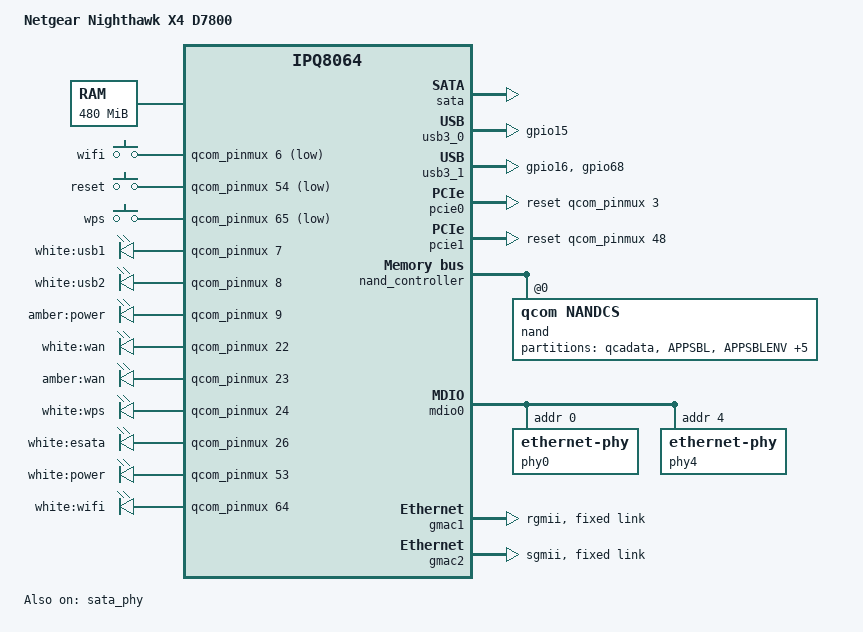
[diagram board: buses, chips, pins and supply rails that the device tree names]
#include "qcom-ipq8064-v2.0.dtsi"

#include <dt-bindings/input/input.h>

/ {
	model = "Netgear Nighthawk X4 D7800";
	compatible = "netgear,d7800", "qcom,ipq8064";

	memory@0 {
		reg = <0x42000000 0x1e000000>;
		device_type = "memory";
	};

	aliases {
		mdio-gpio0 = &mdio0;

		led-boot = &power_white;
		led-failsafe = &power_amber;
		led-running = &power_white;
		led-upgrade = &power_amber;
	};

	chosen {
		bootargs = "rootfstype=squashfs noinitrd";
	};

	keys {
		compatible = "gpio-keys";
		pinctrl-0 = <&button_pins>;
		pinctrl-names = "default";

		wifi {
			label = "wifi";
			gpios = <&qcom_pinmux 6 GPIO_ACTIVE_LOW>;
			linux,code = <KEY_RFKILL>;
			debounce-interval = <60>;
			wakeup-source;
		};

		reset {
			label = "reset";
			gpios = <&qcom_pinmux 54 GPIO_ACTIVE_LOW>;
			linux,code = <KEY_RESTART>;
			debounce-interval = <60>;
			wakeup-source;
		};

		wps {
			label = "wps";
			gpios = <&qcom_pinmux 65 GPIO_ACTIVE_LOW>;
			linux,code = <KEY_WPS_BUTTON>;
			debounce-interval = <60>;
			wakeup-source;
		};
	};

	leds {
		compatible = "gpio-leds";
		pinctrl-0 = <&led_pins>;
		pinctrl-names = "default";

		usb1 {
			label = "white:usb1";
			gpios = <&qcom_pinmux 7 GPIO_ACTIVE_HIGH>;
		};

		usb2 {
			label = "white:usb2";
			gpios = <&qcom_pinmux 8 GPIO_ACTIVE_HIGH>;
		};

		power_amber: power_amber {
			label = "amber:power";
			gpios = <&qcom_pinmux 9 GPIO_ACTIVE_HIGH>;
		};

		wan_white {
			label = "white:wan";
			gpios = <&qcom_pinmux 22 GPIO_ACTIVE_HIGH>;
		};

		wan_amber {
			label = "amber:wan";
			gpios = <&qcom_pinmux 23 GPIO_ACTIVE_HIGH>;
		};

		wps {
			label = "white:wps";
			gpios = <&qcom_pinmux 24 GPIO_ACTIVE_HIGH>;
		};

		esata {
			label = "white:esata";
			gpios = <&qcom_pinmux 26 GPIO_ACTIVE_HIGH>;
		};

		power_white: power_white {
			label = "white:power";
			gpios = <&qcom_pinmux 53 GPIO_ACTIVE_HIGH>;
			default-state = "keep";
		};

		wifi {
			label = "white:wifi";
			gpios = <&qcom_pinmux 64 GPIO_ACTIVE_HIGH>;
		};
	};
};

&qcom_pinmux {
	button_pins: button_pins {
		mux {
			pins = "gpio6", "gpio54", "gpio65";
			function = "gpio";
			drive-strength = <2>;
			bias-pull-up;
		};
	};

	led_pins: led_pins {
		mux {
			pins = "gpio7", "gpio8", "gpio9", "gpio22", "gpio23",
				"gpio24","gpio26", "gpio53", "gpio64";
			function = "gpio";
			drive-strength = <2>;
			bias-pull-up;
		};
	};

	usb0_pwr_en_pins: usb0_pwr_en_pins {
		mux {
			pins = "gpio15";
			function = "gpio";
			drive-strength = <12>;
			bias-pull-down;
			output-high;
		};
	};

	usb1_pwr_en_pins: usb1_pwr_en_pins {
		mux {
			pins = "gpio16", "gpio68";
			function = "gpio";
			drive-strength = <12>;
			bias-pull-down;
			output-high;
		};
	};
};

&sata_phy {
	status = "okay";
};

&sata {
	status = "okay";
};

&usb3_0 {
	status = "okay";

	pinctrl-0 = <&usb0_pwr_en_pins>;
	pinctrl-names = "default";
};

&usb3_1 {
	status = "okay";

	pinctrl-0 = <&usb1_pwr_en_pins>;
	pinctrl-names = "default";
};

&pcie0 {
	status = "okay";
	reset-gpio = <&qcom_pinmux 3 GPIO_ACTIVE_HIGH>;
	pinctrl-0 = <&pcie0_pins>;
	pinctrl-names = "default";
};

&pcie1 {
	status = "okay";
	reset-gpio = <&qcom_pinmux 48 GPIO_ACTIVE_HIGH>;
	pinctrl-0 = <&pcie1_pins>;
	pinctrl-names = "default";
	max-link-speed = <1>;
};

&nand_controller {
	status = "okay";

	pinctrl-0 = <&nand_pins>;
	pinctrl-names = "default";

	#address-cells = <1>;
	#size-cells = <0>;

	nand@0 {
		reg = <0>;
		compatible = "qcom,nandcs";

		nand-ecc-strength = <4>;
		nand-bus-width = <8>;
		nand-ecc-step-size = <512>;

		nand-is-boot-medium;
		qcom,boot_pages_size = <0x1180000>;

		partitions {
			compatible = "fixed-partitions";
			#address-cells = <1>;
			#size-cells = <1>;

			qcadata@0 {
				label = "qcadata";
				reg = <0x0000000 0x0c80000>;
				read-only;
			};

			APPSBL@c80000 {
				label = "APPSBL";
				reg = <0x0c80000 0x0500000>;
				read-only;
			};

			APPSBLENV@1180000 {
				label = "APPSBLENV";
				reg = <0x1180000 0x0080000>;
				read-only;
			};

			art: art@1200000 {
				label = "art";
				reg = <0x1200000 0x0140000>;
				read-only;
			};

			artbak: art@1340000 {
				label = "artbak";
				reg = <0x1340000 0x0140000>;
				read-only;
			};

			kernel@1480000 {
				label = "kernel";
				reg = <0x1480000 0x0400000>;
			};

			ubi@1880000 {
				label = "ubi";
				reg = <0x1880000 0x6080000>;
			};

			reserve@7900000 {
				label = "reserve";
				reg = <0x7900000 0x0700000>;
				read-only;
			};
		};
	};
};

&mdio0 {
	status = "okay";

	pinctrl-0 = <&mdio0_pins>;
	pinctrl-names = "default";

	phy0: ethernet-phy@0 {
		reg = <0>;
		qca,ar8327-initvals = <
			0x00004 0x7600000   /* PAD0_MODE */
			0x00008 0x1000000   /* PAD5_MODE */
			0x0000c 0x80        /* PAD6_MODE */
			0x000e4 0x6a545     /* MAC_POWER_SEL */
			0x000e0 0xc74164de  /* SGMII_CTRL */
			0x0007c 0x4e        /* PORT0_STATUS */
			0x00094 0x4e        /* PORT6_STATUS */
			>;
	};

	phy4: ethernet-phy@4 {
		reg = <4>;
	};
};

&gmac1 {
	status = "okay";
	compatible = "qcom,nss-gmac";
	reg = <0x37200000 0x200000>;
	interrupts = <GIC_SPI 223 IRQ_TYPE_LEVEL_HIGH>;
	phy-mode = "rgmii";
	qcom,id = <1>;
	qcom,pcs-chanid = <0>;
	qcom,phy-mdio-addr = <4>;
	qcom,poll-required = <0>;
	qcom,rgmii-delay = <1>;
	qcom,phy_mii_type = <0>;
	qcom,emulation = <0>;
	qcom,forced-speed = <1000>;
	qcom,forced-duplex = <1>;
	qcom,socver = <0>;
	qcom,irq = <255>;
	mdiobus = <&mdio0>;

	pinctrl-0 = <&rgmii2_pins>;
	pinctrl-names = "default";

	mtd-mac-address = <&art 6>;

	fixed-link {
		speed = <1000>;
		full-duplex;
	};
};

&gmac2 {
	status = "okay";
	compatible = "qcom,nss-gmac";
	reg = <0x37400000 0x200000>;
	interrupts = <GIC_SPI 226 IRQ_TYPE_LEVEL_HIGH>;
	phy-mode = "sgmii";
	qcom,id = <2>;
	qcom,pcs-chanid = <1>;
	qcom,phy-mdio-addr = <0>;	/* none */
	qcom,poll-required = <0>;	/* no polling */
	qcom,rgmii-delay = <0>;
	qcom,phy_mii_type = <1>;
	qcom,emulation = <0>;
	qcom,forced-speed = <1000>;
	qcom,forced-duplex = <1>;
	qcom,socver = <0>;
	qcom,irq = <258>;
	mdiobus = <&mdio0>;

	mtd-mac-address = <&art 0>;

	fixed-link {
		speed = <1000>;
		full-duplex;
	};
};

&adm_dma {
	status = "okay";
};
